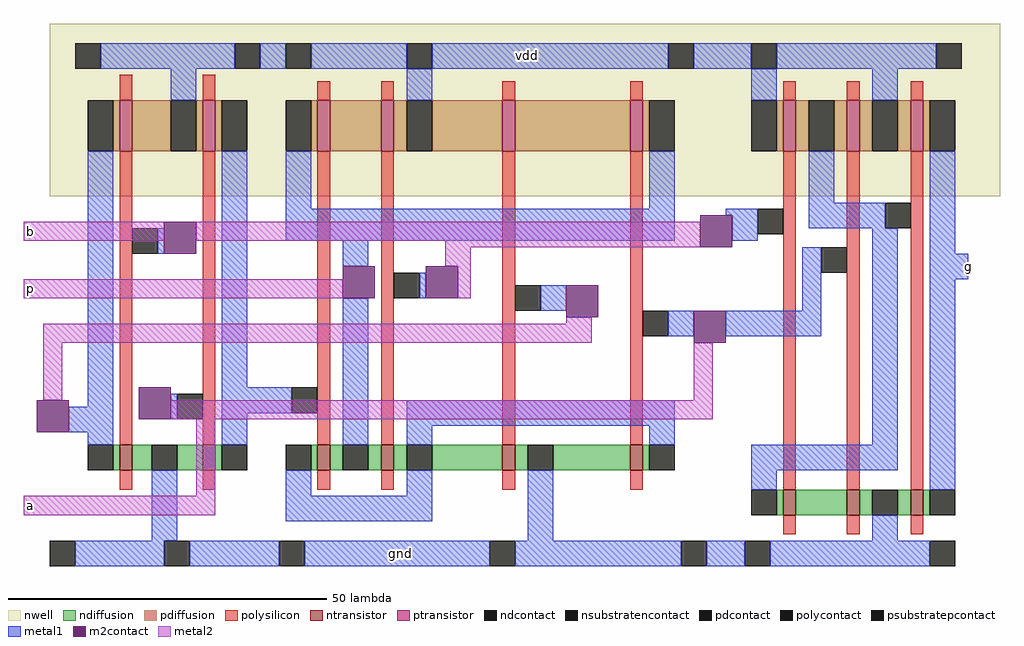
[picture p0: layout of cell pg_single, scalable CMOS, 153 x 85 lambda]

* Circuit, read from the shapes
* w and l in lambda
.subckt pg_single a b g gnd p vdd
M1 gnd b n1 gnd nfet w=4 l=2
M2 n2 a gnd gnd nfet w=4 l=2
M3 p n2 n3 gnd nfet w=4 l=2
M4 n3 b p gnd nfet w=4 l=2
M5 gnd n1 n3 gnd nfet w=4 l=2
M6 n3 a gnd gnd nfet w=4 l=2
M7 n4 b n5 gnd nfet w=4 l=2
M8 gnd a n4 gnd nfet w=4 l=2
M9 g n5 gnd gnd nfet w=4 l=2
M10 vdd b n1 vdd pfet w=8 l=2
M11 n2 a vdd vdd pfet w=8 l=2
M12 n6 n2 p vdd pfet w=8 l=2
M13 vdd b n6 vdd pfet w=8 l=2
M14 n7 n1 vdd vdd pfet w=8 l=2
M15 p a n7 vdd pfet w=8 l=2
M16 n5 b vdd vdd pfet w=8 l=2
M17 vdd a n5 vdd pfet w=8 l=2
M18 g n5 vdd vdd pfet w=8 l=2
.ends

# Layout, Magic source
magic
tech scmos
<< nwell >>
rect -58 0 91 27
<< ntransistor >>
rect -47 -43 -45 -39
rect -34 -43 -32 -39
rect -16 -43 -14 -39
rect -6 -43 -4 -39
rect 13 -43 15 -39
rect 33 -43 35 -39
rect 57 -50 59 -46
rect 67 -50 69 -46
rect 77 -50 79 -46
<< ptransistor >>
rect -47 7 -45 15
rect -34 7 -32 15
rect -16 7 -14 15
rect -6 7 -4 15
rect 13 7 15 15
rect 33 7 35 15
rect 57 7 59 15
rect 67 7 69 15
rect 77 7 79 15
<< ndiffusion >>
rect -48 -43 -47 -39
rect -45 -43 -42 -39
rect -38 -43 -34 -39
rect -32 -43 -31 -39
rect -17 -43 -16 -39
rect -14 -43 -12 -39
rect -8 -43 -6 -39
rect -4 -43 -2 -39
rect 2 -43 13 -39
rect 15 -43 17 -39
rect 21 -43 33 -39
rect 35 -43 36 -39
rect 56 -50 57 -46
rect 59 -50 67 -46
rect 69 -50 71 -46
rect 75 -50 77 -46
rect 79 -50 80 -46
<< pdiffusion >>
rect -48 7 -47 15
rect -45 7 -39 15
rect -35 7 -34 15
rect -32 7 -31 15
rect -17 7 -16 15
rect -14 7 -6 15
rect -4 7 -2 15
rect 2 7 13 15
rect 15 7 33 15
rect 35 7 36 15
rect 56 7 57 15
rect 59 7 61 15
rect 65 7 67 15
rect 69 7 71 15
rect 75 7 77 15
rect 79 7 80 15
<< ndcontact >>
rect -52 -43 -48 -39
rect -42 -43 -38 -39
rect -31 -43 -27 -39
rect -21 -43 -17 -39
rect -12 -43 -8 -39
rect -2 -43 2 -39
rect 17 -43 21 -39
rect 36 -43 40 -39
rect 52 -50 56 -46
rect 71 -50 75 -46
rect 80 -50 84 -46
<< pdcontact >>
rect -52 7 -48 15
rect -39 7 -35 15
rect -31 7 -27 15
rect -21 7 -17 15
rect -2 7 2 15
rect 36 7 40 15
rect 52 7 56 15
rect 61 7 65 15
rect 71 7 75 15
rect 80 7 84 15
<< psubstratepcontact >>
rect -58 -58 -54 -54
rect -40 -58 -36 -54
rect -22 -58 -18 -54
rect 11 -58 15 -54
rect 41 -58 45 -54
rect 51 -58 55 -54
rect 80 -58 84 -54
<< nsubstratencontact >>
rect -54 20 -50 24
rect -29 20 -25 24
rect -21 20 -17 24
rect -2 20 2 24
rect 39 20 43 24
rect 52 20 56 24
rect 81 20 85 24
<< polysilicon >>
rect -47 15 -45 19
rect -34 15 -32 19
rect -16 15 -14 18
rect -6 15 -4 18
rect 13 15 15 18
rect 33 15 35 18
rect 57 15 59 18
rect 67 15 69 18
rect 77 15 79 18
rect -47 -39 -45 7
rect -34 -39 -32 7
rect -16 -39 -14 7
rect -6 -39 -4 7
rect 13 -39 15 7
rect 33 -39 35 7
rect -47 -46 -45 -43
rect -34 -46 -32 -43
rect -16 -46 -14 -43
rect -6 -46 -4 -43
rect 13 -46 15 -43
rect 33 -46 35 -43
rect 57 -46 59 7
rect 67 -46 69 7
rect 77 -46 79 7
rect 57 -53 59 -50
rect 67 -53 69 -50
rect 77 -53 79 -50
<< polycontact >>
rect -45 -9 -41 -5
rect -38 -35 -34 -31
rect -20 -34 -16 -30
rect -4 -16 0 -12
rect 15 -18 19 -14
rect 53 -6 57 -2
rect 35 -22 39 -18
rect 63 -12 67 -8
rect 73 -5 77 -1
<< metal1 >>
rect -50 20 -29 24
rect -25 20 -21 24
rect -17 20 -2 24
rect 2 20 39 24
rect 43 20 52 24
rect 56 20 81 24
rect -39 15 -35 20
rect -2 15 2 20
rect 52 15 56 20
rect 71 15 75 20
rect -52 -33 -48 7
rect -41 -9 -40 -5
rect -31 -30 -27 7
rect -21 -2 -17 7
rect 36 -2 40 7
rect 61 -1 65 7
rect -21 -7 40 -2
rect 48 -3 53 -2
rect -12 -11 -8 -7
rect 49 -7 53 -3
rect 61 -5 73 -1
rect 0 -16 1 -12
rect -55 -37 -48 -33
rect -39 -35 -38 -31
rect -31 -34 -20 -30
rect -52 -39 -48 -37
rect -31 -39 -27 -34
rect -12 -39 -8 -16
rect 19 -18 23 -14
rect 60 -18 63 -8
rect 39 -22 43 -18
rect 48 -22 63 -18
rect -2 -36 40 -32
rect -2 -39 2 -36
rect 36 -39 40 -36
rect 71 -39 75 -5
rect -42 -54 -38 -43
rect -21 -47 -17 -43
rect -2 -47 2 -43
rect -21 -51 2 -47
rect 52 -43 75 -39
rect 80 -9 84 7
rect 80 -13 86 -9
rect 17 -54 21 -43
rect 52 -46 56 -43
rect 80 -46 84 -13
rect 71 -54 75 -50
rect -54 -58 -40 -54
rect -36 -58 -22 -54
rect -18 -58 11 -54
rect 15 -58 41 -54
rect 45 -58 51 -54
rect 55 -58 80 -54
<< m2contact >>
rect -60 -37 -55 -32
rect -40 -9 -35 -4
rect 44 -8 49 -3
rect -12 -16 -7 -11
rect 1 -16 6 -11
rect -44 -35 -39 -30
rect 23 -19 28 -14
rect 43 -23 48 -18
<< metal2 >>
rect -62 -7 -40 -4
rect -35 -7 44 -4
rect 4 -8 44 -7
rect 4 -11 8 -8
rect -62 -16 -12 -13
rect 6 -16 8 -11
rect 23 -20 27 -19
rect -59 -23 27 -20
rect -59 -32 -56 -23
rect 43 -32 46 -23
rect -39 -35 46 -32
rect -35 -47 -32 -35
rect -62 -50 -32 -47
<< labels >>
rlabel metal1 17 22 17 22 5 vdd
rlabel metal1 -3 -56 -3 -56 1 gnd
rlabel metal2 -61 -7 -61 -4 3 b
rlabel metal2 -61 -50 -61 -47 3 a
rlabel metal1 86 -13 86 -9 7 g
rlabel metal2 -61 -16 -61 -13 3 p
<< end >>
